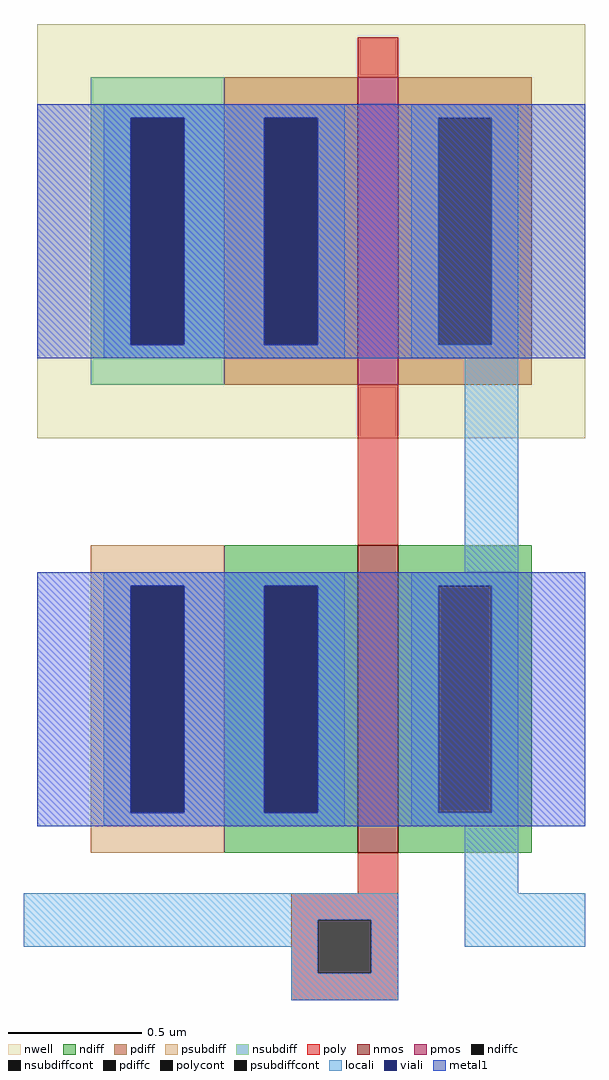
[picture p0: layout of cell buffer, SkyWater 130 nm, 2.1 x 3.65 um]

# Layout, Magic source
magic
tech sky130A
<< nwell >>
rect -135 190 70 345
<< nmos >>
rect -15 35 0 150
<< pmos >>
rect -15 210 0 325
<< ndiff >>
rect -65 135 -15 150
rect -65 50 -50 135
rect -30 50 -15 135
rect -65 35 -15 50
rect 0 135 50 150
rect 0 50 15 135
rect 35 50 50 135
rect 0 35 50 50
<< pdiff >>
rect -65 310 -15 325
rect -65 225 -50 310
rect -30 225 -15 310
rect -65 210 -15 225
rect 0 310 50 325
rect 0 225 15 310
rect 35 225 50 310
rect 0 210 50 225
<< ndiffc >>
rect -50 50 -30 135
rect 15 50 35 135
<< pdiffc >>
rect -50 225 -30 310
rect 15 225 35 310
<< psubdiff >>
rect -115 135 -65 150
rect -115 50 -100 135
rect -80 50 -65 135
rect -115 35 -65 50
<< nsubdiff >>
rect -115 310 -65 325
rect -115 225 -100 310
rect -80 225 -65 310
rect -115 210 -65 225
<< psubdiffcont >>
rect -100 50 -80 135
<< nsubdiffcont >>
rect -100 225 -80 310
<< poly >>
rect -15 325 0 340
rect -15 150 0 210
rect -15 20 0 35
rect -40 10 0 20
rect -40 -10 -30 10
rect -10 -10 0 10
rect -40 -20 0 -10
<< polycont >>
rect -30 -10 -10 10
<< locali >>
rect -110 310 -20 315
rect -110 225 -100 310
rect -80 225 -50 310
rect -30 225 -20 310
rect -110 220 -20 225
rect 5 310 45 315
rect 5 225 15 310
rect 35 225 45 310
rect 5 220 45 225
rect 25 140 45 220
rect -110 135 -20 140
rect -110 50 -100 135
rect -80 50 -50 135
rect -30 50 -20 135
rect -110 45 -20 50
rect 5 135 45 140
rect 5 50 15 135
rect 35 50 45 135
rect 5 45 45 50
rect 25 20 45 45
rect -140 10 0 20
rect -140 0 -30 10
rect -40 -10 -30 0
rect -10 -10 0 10
rect 25 0 70 20
rect -40 -20 0 -10
<< viali >>
rect -100 225 -80 310
rect -50 225 -30 310
rect -100 50 -80 135
rect -50 50 -30 135
<< metal1 >>
rect -135 310 70 315
rect -135 225 -100 310
rect -80 225 -50 310
rect -30 225 70 310
rect -135 220 70 225
rect -135 135 70 140
rect -135 50 -100 135
rect -80 50 -50 135
rect -30 50 70 135
rect -135 45 70 50
<< end >>
